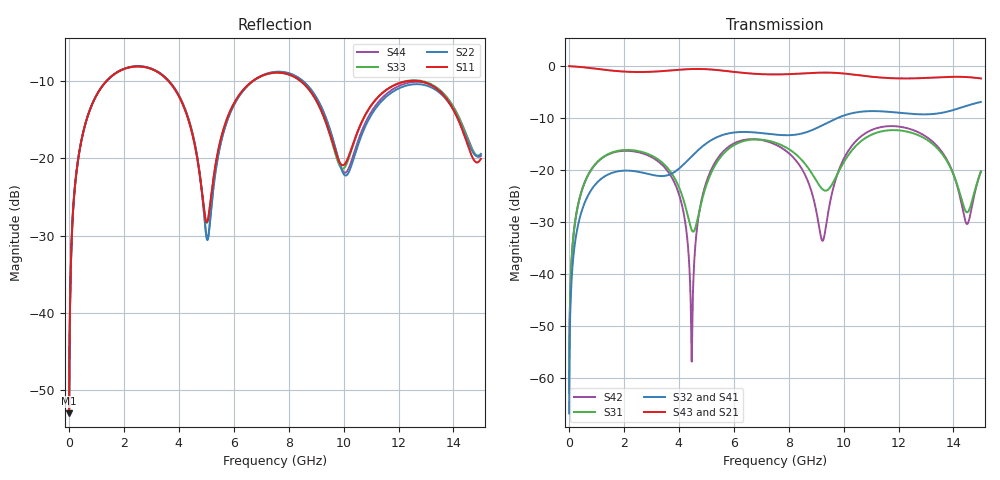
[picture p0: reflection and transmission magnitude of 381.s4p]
! Created with skrf 1.8.0 (http://scikit-rf.org).
# GHz S RI R 50.0
!freq ReS11 ImS11 ReS12 ImS12 ReS13 ImS13
! ReS14 ImS14
! ReS21 ImS21 ReS22 ImS22 ReS23 ImS23
! ReS24 ImS24
! ReS31 ImS31 ReS32 ImS32 ReS33 ImS33
! ReS34 ImS34
! ReS41 ImS41 ReS42 ImS42 ReS43 ImS43
! ReS44 ImS44
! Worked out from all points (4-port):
!   2499 points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, 5 MHz to 15 GHz, reference 50 ohm
!   strongest paths, dB at 5 MHz, 3.476 GHz, 7.19 GHz, 11.1 GHz, 15 GHz:
!     S43: 0.0, -0.9, -1.6, -2.1, -2.4
!     S21: 0.0, -0.9, -1.6, -2.1, -2.4
!     S32: -66.8, -21.1, -13.0, -8.7, -6.9
!     S41: -66.8, -21.2, -13.0, -8.7, -6.9
!     S31: -62.9, -19.0, -14.3, -13.0, -20.3
!     S42: -62.9, -19.5, -14.5, -12.1, -20.3
!   lowest |S11| = -53.0 dB at 5 MHz (marker M1), VSWR 1.00, Z = 50.2 + j0.136 ohm
!   |S11| at or under -10 dB: 3.624 GHz to 6.69 GHz (3.066 GHz wide, 59.4 % of centre); 8.441 GHz to 12.36 GHz (3.923 GHz wide, 37.7 % of centre); 12.73 GHz to end of sweep (the widest 3 of 4)
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0.005  0.00179 0.00136  0.9982 -0.00348  9.04e-05 0.000713  -8.77e-05 -0.000446
       0.9982 -0.00348  0.00179 0.00136  -8.77e-05 -0.000446  9.03e-05 0.000713
       9.04e-05 0.000713  -8.77e-05 -0.000446  0.00179 0.00136  0.9982 -0.00348
       -8.77e-05 -0.000446  9.03e-05 0.000713  0.9982 -0.00348  0.00179 0.00136
0.3126303  0.0277 0.0885  0.962 -0.2154  0.0132 0.0418  -0.0108 -0.0258
           0.962 -0.2154  0.0278 0.0885  -0.0108 -0.0258  0.0128 0.0419
           0.0132 0.0418  -0.0108 -0.0258  0.0277 0.0885  0.962 -0.2154
           -0.0108 -0.0258  0.0128 0.0419  0.962 -0.2154  0.0278 0.0885
1.469362  0.2793 0.1749  0.528 -0.7414  0.1331 0.0551  -0.0916 -0.00288
          0.528 -0.7414  0.2808 0.1739  -0.0916 -0.00281  0.1286 0.0615
          0.1331 0.0551  -0.0916 -0.00281  0.2793 0.175  0.528 -0.7414
          -0.0916 -0.00288  0.1286 0.0615  0.528 -0.7414  0.2809 0.1738
4.470613  0.0808 -0.1249  -0.8502 -0.393  -0.0232 -0.0126  -0.0533 0.1247
          -0.8502 -0.393  0.0743 -0.1324  -0.0525 0.125  0.00128 0.000627
          -0.0232 -0.0126  -0.0525 0.125  0.0807 -0.1251  -0.8502 -0.393
          -0.0533 0.1247  0.00128 0.000627  -0.8502 -0.393  0.0747 -0.1324
5.633597  0.1022 0.1178  -0.8529 0.2951  0.0782 0.1213  0.0963 0.1962
          -0.8529 0.2951  0.0915 0.117  0.0975 0.1958  0.0943 0.1194
          0.0782 0.1213  0.0975 0.1958  0.1014 0.1176  -0.8529 0.2951
          0.0963 0.1962  0.0943 0.1194  -0.8529 0.2951  0.0922 0.1168
10.10421  0.0944 0.0149  0.8372 0.1025  -0.0214 0.1289  0.0322 -0.3382
          0.8372 0.1025  0.0774 -0.00561  0.0291 -0.3392  0.0237 0.1409
          -0.0214 0.1289  0.0291 -0.3392  0.09 0.0176  0.8374 0.1009
          0.0322 -0.3382  0.0237 0.1409  0.8374 0.1009  0.0815 -0.00129
15  0.0981 0.0152  -0.7238 -0.2342  -0.0154 0.0952  -0.1291 0.4331
    -0.7238 -0.2342  0.1059 0.0106  -0.1196 0.4355  -0.00355 0.097
    -0.0154 0.0952  -0.1196 0.4355  0.1065 0.0079  -0.723 -0.2358
    -0.1291 0.4331  -0.00355 0.097  -0.723 -0.2358  0.1036 0.000836
